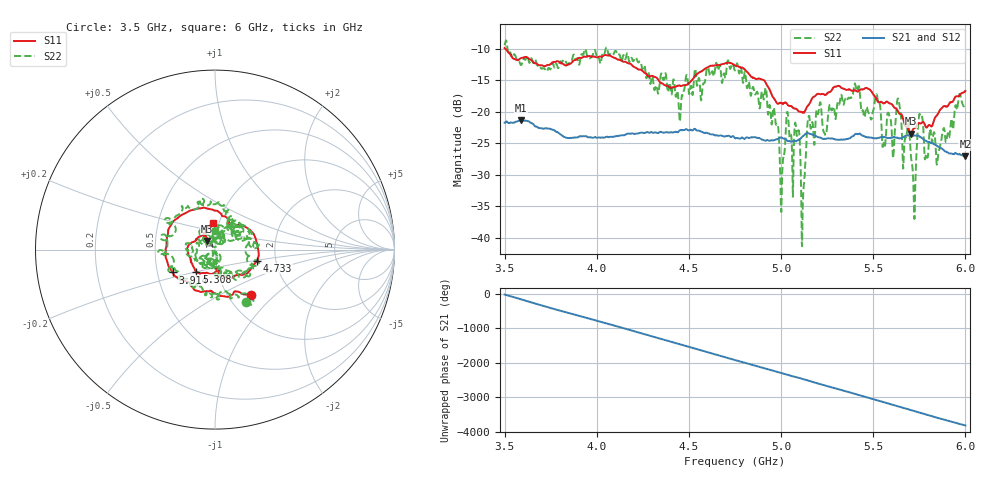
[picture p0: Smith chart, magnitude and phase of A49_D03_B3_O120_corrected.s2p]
! Created with skrf 1.9.0 (http://scikit-rf.org).
# Hz S RI R 50.0
!freq ReS11 ImS11 ReS21 ImS21 ReS12 ImS12 ReS22 ImS22
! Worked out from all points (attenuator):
!   1601 points, 3.5 GHz to 6 GHz, reference 50 ohm
!   highest |S21| = -21.34 dB at 3.591 GHz (marker M1); lowest = -27.0 dB at 6 GHz (marker M2)
!   lowest |S11| = -23.5 dB at 5.703 GHz (marker M3), VSWR 1.14, Z = 45.4 + j4.44 ohm
!   |S11| at or under -10 dB: 3.505 GHz to end of sweep
!   |S22| runs from -41.3 to -8.7 dB; largest |S21 - S12| = 0.00096
!   S11 on the Smith chart (normalised r, x): 3.5 GHz: 1.27, -0.72; 3.914 GHz: 0.60, -0.17; 4.733 GHz: 1.60, -0.21; 5.308 GHz: 0.79, -0.20; 6 GHz: 0.94, +0.28
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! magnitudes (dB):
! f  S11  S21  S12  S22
! 3.5 GHz  -9.9  -21.7  -21.7  -9.4
! 3.591 GHz  -11.4  -21.3  -21.3  -12.6
! 3.914 GHz  -11.4  -23.9  -23.8  -11.1
! 3.917 GHz  -11.4  -23.9  -23.9  -10.8
! 4.334 GHz  -14.9  -23.3  -23.3  -17.0
! 4.733 GHz  -12.3  -23.9  -23.9  -12.6
! 4.75 GHz  -12.6  -24.2  -24.1  -13.4
! 4.969 GHz  -18.2  -24.4  -24.4  -21.4
! 5.005 GHz  -18.6  -24.1  -24.1  -31.2
! 5.033 GHz  -18.8  -24.6  -24.5  -20.0
! 5.088 GHz  -19.7  -24.6  -24.5  -23.8
! 5.119 GHz  -20.1  -23.8  -23.8  -33.8
! 5.145 GHz  -19.0  -23.4  -23.3  -21.3
! 5.167 GHz  -17.9  -23.6  -23.5  -21.8
! 5.308 GHz  -15.9  -24.4  -24.4  -18.4
! 5.584 GHz  -18.6  -24.1  -24.1  -20.2
! 5.638 GHz  -20.1  -24.1  -24.1  -18.1
! 5.703 GHz  -23.5  -23.8  -23.8  -26.4
! 5.72 GHz  -22.6  -23.8  -23.7  -34.0
! 5.756 GHz  -21.8  -24.0  -23.9  -20.7
! 5.852 GHz  -20.3  -25.5  -25.4  -27.0
! 6 GHz  -16.7  -27.0  -27.0  -19.6
